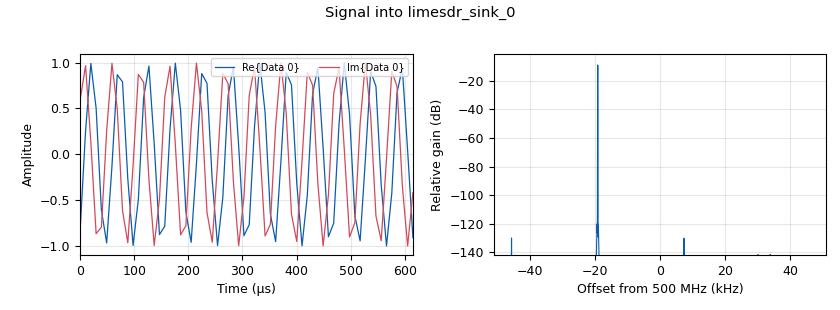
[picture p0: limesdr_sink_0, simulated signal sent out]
<?xml version='1.0' encoding='utf-8'?>
<?grc format='1' created='3.7.13'?>
<flow_graph>
<block>
<key>options</key>
<param><key>id</key><value>top_block</value></param>
<param><key>generate_options</key><value>wx_gui</value></param>
</block>
<block>
<key>variable_constellation</key>
<param><key>id</key><value>BPSK</value></param>
<param><key>const_points</key><value>[-1, 1]</value></param>
<param><key>type</key><value>bpsk</value></param>
<param><key>precision</key><value>8</value></param>
<param><key>sym_map</key><value>[0, 1]</value></param>
</block>
<block>
<key>variable</key>
<param><key>id</key><value>Freq</value></param>
<param><key>value</key><value>500e6</value></param>
</block>
<block>
<key>variable</key>
<param><key>id</key><value>samp_rate</value></param>
<param><key>value</key><value>102400</value></param>
</block>
<block>
<key>analog_sig_source_x</key>
<param><key>id</key><value>analog_sig_source_x_0</value></param>
<param><key>amp</key><value>1</value></param>
<param><key>freq</key><value>Freq</value></param>
<param><key>offset</key><value>0</value></param>
<param><key>type</key><value>complex</value></param>
<param><key>samp_rate</key><value>samp_rate</value></param>
<param><key>waveform</key><value>analog.GR_COS_WAVE</value></param>
</block>
<block>
<key>blocks_file_source</key>
<param><key>id</key><value>blocks_file_source_0</value></param>
<param><key>_enabled</key><value>0</value></param>
<param><key>file</key><value>C:\Users\Admin\Desktop\message_test.csv</value></param>
<param><key>type</key><value>byte</value></param>
<param><key>repeat</key><value>True</value></param>
</block>
<block>
<key>blocks_unpacked_to_packed_xx</key>
<param><key>id</key><value>blocks_unpacked_to_packed_xx_0</value></param>
<param><key>bits_per_chunk</key><value>1</value></param>
<param><key>_enabled</key><value>0</value></param>
<param><key>endianness</key><value>gr.GR_MSB_FIRST</value></param>
<param><key>type</key><value>byte</value></param>
</block>
<block>
<key>digital_constellation_modulator</key>
<param><key>id</key><value>digital_constellation_modulator_0</value></param>
<param><key>differential</key><value>True</value></param>
<param><key>_enabled</key><value>0</value></param>
<param><key>excess_bw</key><value>0.35</value></param>
<param><key>samples_per_symbol</key><value>2</value></param>
</block>
<block>
<key>digital_simple_framer</key>
<param><key>id</key><value>digital_simple_framer_0</value></param>
<param><key>_enabled</key><value>0</value></param>
<param><key>payload_bytesize</key><value>1</value></param>
</block>
<block>
<key>limesdr_sink</key>
<param><key>id</key><value>limesdr_sink_0</value></param>
<param><key>allow_tcxo_dac</key><value>0</value></param>
<param><key>analog_bandw_ch0</key><value>0</value></param>
<param><key>calibr_bandw_ch0</key><value>5e6</value></param>
<param><key>digital_bandw_ch0</key><value>0</value></param>
<param><key>gain_dB_ch0</key><value>60</value></param>
<param><key>pa_path_ch0</key><value>1</value></param>
<param><key>calibr_bandw_ch1</key><value>5e6</value></param>
<param><key>digital_bandw_ch1</key><value>0</value></param>
<param><key>gain_dB_ch1</key><value>30</value></param>
<param><key>pa_path_ch1</key><value>1</value></param>
<param><key>channel_mode</key><value>0</value></param>
<param><key>oversample</key><value>0</value></param>
<param><key>rf_freq</key><value>Freq</value></param>
<param><key>samp_rate</key><value>samp_rate</value></param>
<param><key>dacVal</key><value>125</value></param>
</block>
<block>
<key>limesdr_source</key>
<param><key>id</key><value>limesdr_source_0</value></param>
<param><key>allow_tcxo_dac</key><value>0</value></param>
<param><key>analog_bandw_ch0</key><value>0</value></param>
<param><key>calibr_bandw_ch0</key><value>5e6</value></param>
<param><key>digital_bandw_ch0</key><value>0</value></param>
<param><key>gain_dB_ch0</key><value>50</value></param>
<param><key>lna_path_ch0</key><value>2</value></param>
<param><key>analog_bandw_ch1</key><value>5e6</value></param>
<param><key>calibr_bandw_ch1</key><value>5e6</value></param>
<param><key>digital_bandw_ch1</key><value>0</value></param>
<param><key>gain_dB_ch1</key><value>30</value></param>
<param><key>channel_mode</key><value>0</value></param>
<param><key>oversample</key><value>0</value></param>
<param><key>rf_freq</key><value>Freq</value></param>
<param><key>samp_rate</key><value>samp_rate</value></param>
<param><key>dacVal</key><value>125</value></param>
</block>
<block>
<key>spacegrant_spirit1_basic_deframer</key>
<param><key>id</key><value>spacegrant_spirit1_basic_deframer_0</value></param>
<param><key>address_len</key><value>0</value></param>
<param><key>crc_mode</key><value>0</value></param>
<param><key>control_len</key><value>0</value></param>
<param><key>_enabled</key><value>0</value></param>
<param><key>length_len</key><value>8</value></param>
<param><key>preamble_bytes</key><value>pmt.cons(pmt.PMT_NIL, pmt.init_u8vector(4, [0xAA, 0xAA, 0xAA, 0xAA]))</value></param>
<param><key>sync_bytes</key><value>pmt.cons(pmt.PMT_NIL, pmt.init_u8vector(4, [0x88, 0x88, 0x88, 0x88]))</value></param>
</block>
<block>
<key>wxgui_fftsink2</key>
<param><key>id</key><value>wxgui_fftsink2_0</value></param>
<param><key>avg_alpha</key><value>0</value></param>
<param><key>average</key><value>False</value></param>
<param><key>baseband_freq</key><value>Freq</value></param>
<param><key>fft_size</key><value>1024</value></param>
<param><key>freqvar</key><value>None</value></param>
<param><key>peak_hold</key><value>True</value></param>
<param><key>ref_level</key><value>0</value></param>
<param><key>ref_scale</key><value>2.0</value></param>
<param><key>fft_rate</key><value>15</value></param>
<param><key>samp_rate</key><value>samp_rate</value></param>
<param><key>title</key><value>FFT Plot</value></param>
<param><key>type</key><value>complex</value></param>
<param><key>win</key><value>None</value></param>
<param><key>y_divs</key><value>10</value></param>
<param><key>y_per_div</key><value>10</value></param>
</block>
<connection><source_block_id>analog_sig_source_x_0</source_block_id><sink_block_id>limesdr_sink_0</sink_block_id><source_key>0</source_key><sink_key>0</sink_key></connection>
<connection><source_block_id>blocks_file_source_0</source_block_id><sink_block_id>digital_simple_framer_0</sink_block_id><source_key>0</source_key><sink_key>0</sink_key></connection>
<connection><source_block_id>blocks_unpacked_to_packed_xx_0</source_block_id><sink_block_id>digital_constellation_modulator_0</sink_block_id><source_key>0</source_key><sink_key>0</sink_key></connection>
<connection><source_block_id>digital_simple_framer_0</source_block_id><sink_block_id>blocks_unpacked_to_packed_xx_0</sink_block_id><source_key>0</source_key><sink_key>0</sink_key></connection>
<connection><source_block_id>limesdr_source_0</source_block_id><sink_block_id>wxgui_fftsink2_0</sink_block_id><source_key>0</source_key><sink_key>0</sink_key></connection>
</flow_graph>
